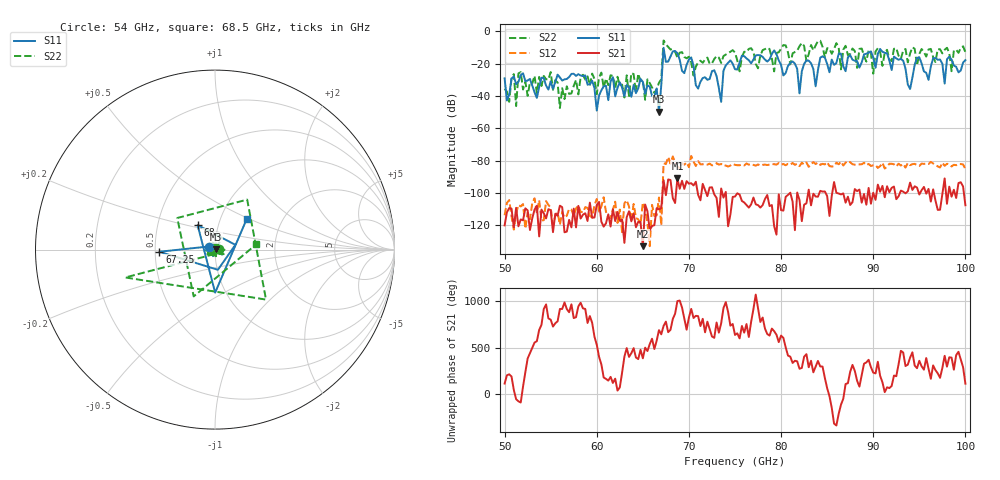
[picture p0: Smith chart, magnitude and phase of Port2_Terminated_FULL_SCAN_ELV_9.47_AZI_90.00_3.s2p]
! 11/25/2026 1:40:20 PM
! C:\ANRITSUVNA\TEMP\TEMP.S2P
! CHANNEL.1
! TR.MEASUREMENT
! RAW.DATA
# HZ S RI R 50.0
! FREQ.HZ  S11RE  S11IM  S21RE  S21IM  S12RE  S12IM  S22RE  S22IM
!; PortSelection: Port_12
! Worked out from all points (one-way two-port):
!   201 points, 50 GHz to 100 GHz, reference 50 ohm
!   highest |S21| = -91.04 dB at 68.75 GHz (marker M1); lowest = -133.0 dB at 65 GHz (marker M2)
!   lowest |S11| = -49.8 dB at 66.75 GHz (marker M3), VSWR 1.01, Z = 50.3 + j0.0722 ohm
!   |S11| at or under -10 dB: start of sweep to end of sweep
!   |S22| runs from -47.5 to -5.6 dB; largest |S21 - S12| = 0.00016
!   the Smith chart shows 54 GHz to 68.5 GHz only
!   S11 on the Smith chart (normalised r, x): 54 GHz: 0.93, +0.03; 67.25 GHz: 0.53, -0.01; 68 GHz: 0.80, +0.22; 68.5 GHz: 1.33, +0.49
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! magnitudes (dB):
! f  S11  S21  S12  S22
! 50 GHz  -29.1  -120.1  -113.9  -35.6
! 54 GHz  -28.7  -110.3  -117.1  -33.8
! 55 GHz  -31.0  -110.7  -109.1  -25.2
! 56 GHz  -28.5  -107.9  -119.7  -47.5
! 58.5 GHz  -27.7  -113.5  -112.1  -26.9
! 60 GHz  -49.0  -107.5  -103.8  -38.9
! 65 GHz  -31.2  -133.0  -106.0  -30.6
! 66.75 GHz  -49.8  -110.2  -102.9  -31.9
! 67.25 GHz  -10.2  -92.2  -81.7  -5.6
! 68 GHz  -15.5  -92.1  -81.9  -11.2
! 68.5 GHz  -12.1  -106.3  -81.1  -12.7
! 68.75 GHz  -13.5  -91.0  -83.6  -16.2
! 73.5 GHz  -43.6  -97.3  -82.1  -19.6
! 73.75 GHz  -24.3  -103.0  -83.3  -15.3
! 75 GHz  -23.4  -102.3  -82.6  -13.1
! 82 GHz  -38.4  -104.4  -83.5  -9.2
! 83.5 GHz  -23.3  -100.5  -80.9  -11.7
! 91.75 GHz  -18.1  -99.6  -82.0  -17.5
! 94 GHz  -35.6  -93.6  -82.9  -13.7
! 94.75 GHz  -16.5  -96.7  -82.7  -21.1
! 97.75 GHz  -32.3  -91.1  -83.2  -11.4
! 100 GHz  -17.8  -107.7  -85.2  -12.9
